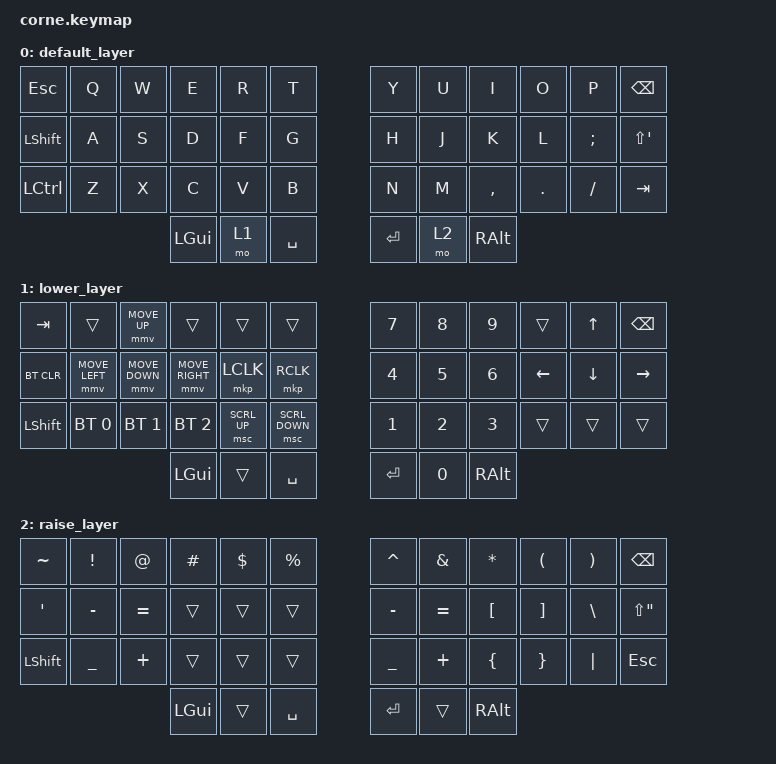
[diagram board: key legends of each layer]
/*
 * Copyright (c) 2020 The ZMK Contributors
 *
 * SPDX-License-Identifier: MIT
 */

#include <behaviors.dtsi>
#include <dt-bindings/zmk/bt.h>
#include <dt-bindings/zmk/keys.h>
#include <dt-bindings/zmk/pointing.h>

/ {
    keymap {
        compatible = "zmk,keymap";

        default_layer {
            // -----------------------------------------------------------------------------------------
            // |  TAB |  Q  |  W  |  E  |  R  |  T  |   |  Y  |  U   |  I  |  O  |  P  | BKSP |
            // | CTRL |  A  |  S  |  D  |  F  |  G  |   |  H  |  J   |  K  |  L  |  ;  |  '   |
            // | SHFT |  Z  |  X  |  C  |  V  |  B  |   |  N  |  M   |  ,  |  .  |  /  | ESC  |
            //                    | GUI | LWR | SPC |   | ENT | RSE  | ALT |

            bindings = <
&kp ESCAPE        &kp Q  &kp W  &kp E     &kp R  &kp T        &kp Y    &kp U  &kp I      &kp O    &kp P     &kp BSPC
&kp LEFT_SHIFT    &kp A  &kp S  &kp D     &kp F  &kp G        &kp H    &kp J  &kp K      &kp L    &kp SEMI  &kp LS(SINGLE_QUOTE)
&kp LEFT_CONTROL  &kp Z  &kp X  &kp C     &kp V  &kp B        &kp N    &kp M  &kp COMMA  &kp DOT  &kp FSLH  &kp TAB
                                &kp LGUI  &mo 1  &kp SPACE    &kp RET  &mo 2  &kp RALT
            >;
        };

        lower_layer {
            // -----------------------------------------------------------------------------------------
            // |  TAB |  1  |  2  |  3  |  4  |  5  |   |  6  |  7  |  8  |  9  |  0  | BKSP |
            // | BTCLR| BT1 | BT2 | BT3 | BT4 | BT5 |   | LFT | DWN |  UP | RGT |     |      |
            // | SHFT |     |     |     |     |     |   |     |     |     |     |     |      |
            //                    | GUI |     | SPC |   | ENT |     | ALT |

            bindings = <
&kp TAB     &trans          &mmv MOVE_UP    &trans           &trans        &trans            &kp N7        &kp N8        &kp N9        &trans          &kp UP_ARROW    &kp BSPC
&bt BT_CLR  &mmv MOVE_LEFT  &mmv MOVE_DOWN  &mmv MOVE_RIGHT  &mkp LCLK     &mkp RCLK         &kp NUMBER_4  &kp N5        &kp NUMBER_6  &kp LEFT_ARROW  &kp DOWN_ARROW  &kp RIGHT_ARROW
&kp LSHFT   &bt BT_SEL 0    &bt BT_SEL 1    &bt BT_SEL 2     &msc SCRL_UP  &msc SCRL_DOWN    &kp NUMBER_1  &kp NUMBER_2  &kp NUMBER_3  &trans          &trans          &trans
                                            &kp LGUI         &trans        &kp SPACE         &kp RET       &kp N0        &kp RALT
            >;
        };

        raise_layer {
            // -----------------------------------------------------------------------------------------
            // |  TAB |  !  |  @  |  #  |  $  |  %  |   |  ^  |  &  |  *  |  (  |  )  | BKSP |
            // | CTRL |     |     |     |     |     |   |  -  |  =  |  [  |  ]  |  \  |  `   |
            // | SHFT |     |     |     |     |     |   |  _  |  +  |  {  |  }  | "|" |  ~   |
            //                    | GUI |     | SPC |   | ENT |     | ALT |

            bindings = <
&kp TILDE       &kp EXCL   &kp AT_SIGN  &kp HASH  &kp DLLR  &kp PRCNT    &kp CARET  &kp AMPS   &kp ASTRK       &kp LPAR  &kp RPAR  &kp BSPC
&kp APOSTROPHE  &kp MINUS  &kp EQUAL    &trans    &trans    &trans       &kp MINUS  &kp EQUAL  &kp LBKT        &kp RBKT  &kp BSLH  &kp LS(DOUBLE_QUOTES)
&kp LSHFT       &kp UNDER  &kp PLUS     &trans    &trans    &trans       &kp UNDER  &kp PLUS   &kp LEFT_BRACE  &kp RBRC  &kp PIPE  &kp ESC
                                        &kp LGUI  &trans    &kp SPACE    &kp RET    &trans     &kp RALT
            >;
        };
    };
};
